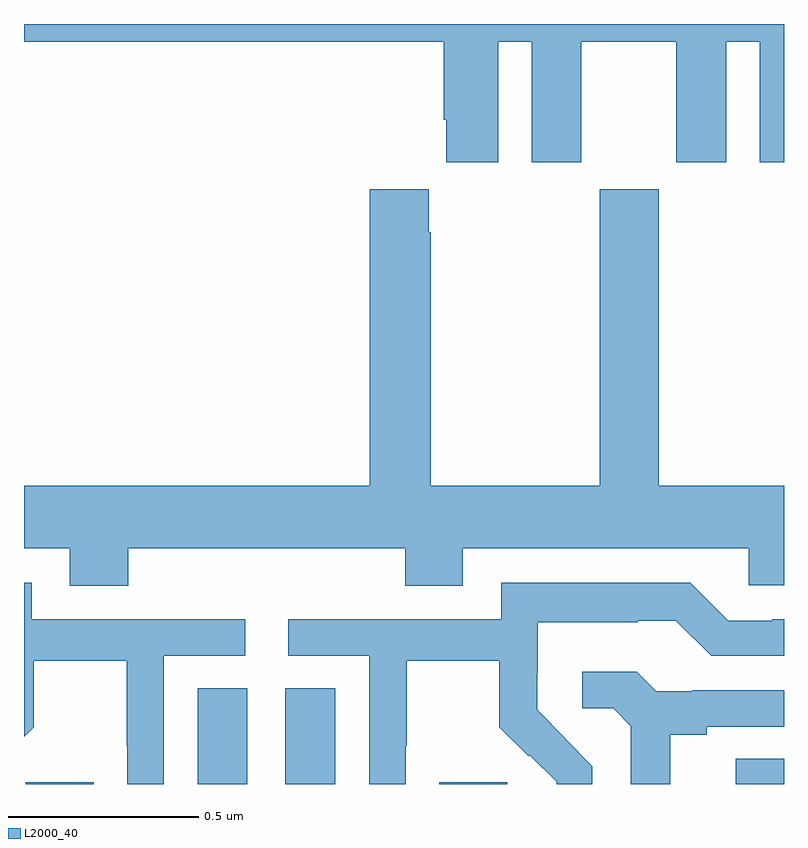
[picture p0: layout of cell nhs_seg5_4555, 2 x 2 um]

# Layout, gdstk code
import gdstk
lib = gdstk.Library(unit=1e-6, precision=1e-09)
def R(c, l, rs):  # rectangles x0, y0, x1, y1
    for r in rs: c.add(gdstk.rectangle(r[:2], r[2:], *l))
def P(c, l, *ps):  # polygons
    for p in ps: c.add(gdstk.Polygon(p, *l))
L2000_40 = (2000, 40)

nhs_seg5_4555 = lib.new_cell('nhs_seg5_4555')
R(nhs_seg5_4555, L2000_40, [(172.004,862.799,172.183,862.803), (172.457,862.799,172.588,863.051), (172.688,862.799,172.819,863.051), (173.093,862.799,173.272,862.803), (173.873,862.799,174,862.865)])
P(nhs_seg5_4555, L2000_40, [(173.248,864.752),(173.336,864.752),(173.336,864.435),(173.467,864.435),(173.467,864.752),(173.717,864.752),(173.717,864.435),(173.848,864.435),(173.848,864.752),(173.936,864.752),(173.936,864.435),(174,864.435),(174,864.799),(172,864.799),(172,864.752),(173.105,864.752),(173.105,864.547),(173.111,864.547),(173.111,864.435),(173.248,864.435)],
  [(172.274,863.42),(173.003,863.42),(173.003,863.321),(173.155,863.321),(173.155,863.42),(173.907,863.42),(173.907,863.322),(174,863.322),(174,863.584),(173.67,863.584),(173.67,864.364),(173.515,864.364),(173.515,863.584),(173.07,863.584),(173.07,864.251),(173.065,864.251),(173.065,864.364),(172.91,864.364),(172.91,863.584),(172,863.584),(172,863.42),(172.121,863.42),(172.121,863.321),(172.274,863.321)],
  [(173.004,862.9),(173.007,862.9),(173.007,863.124),(173.251,863.124),(173.251,862.949),(173.328,862.872),(173.331,862.875),(173.402,862.805),(173.402,862.799),(173.496,862.799),(173.496,862.846),(173.423,862.919),(173.424,862.92),(173.35,862.994),(173.35,863.091),(173.352,863.091),(173.352,863.225),(173.615,863.225),(173.615,863.229),(173.715,863.229),(173.808,863.136),(174,863.136),(174,863.232),(173.969,863.232),(173.969,863.229),(173.853,863.229),(173.753,863.329),(173.256,863.329),(173.256,863.232),(172.695,863.232),(172.695,863.136),(172.908,863.136),(172.908,862.799),(173.004,862.799)],
  [(172.368,863.136),(172.582,863.136),(172.582,863.232),(172.02,863.232),(172.02,863.329),(172,863.329),(172,862.924),(172.025,862.949),(172.025,863.124),(172.27,863.124),(172.27,862.9),(172.272,862.9),(172.272,862.799),(172.368,862.799)],
  [(173.701,862.928),(173.797,862.928),(173.797,862.95),(174,862.95),(174,863.046),(173.758,863.046),(173.758,863.043),(173.664,863.043),(173.612,863.095),(173.469,863.095),(173.469,862.998),(173.55,862.998),(173.597,862.951),(173.597,862.799),(173.701,862.799)])

lib.write_gds('nhs_seg5_4555.gds')
